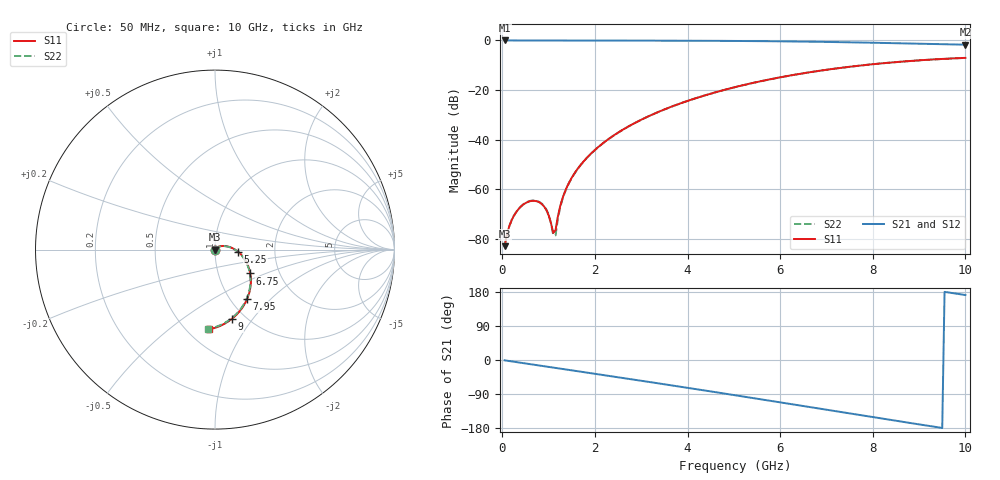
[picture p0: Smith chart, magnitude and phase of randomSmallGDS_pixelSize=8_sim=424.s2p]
! freq	dB(S11)	phase(S11)	dB(S12)	phase(S12)
!  dB(S21)	phase(S21)	dB(S22)	phase(S22)
!S-par simulation data
#  GHz  S  DB  R 50
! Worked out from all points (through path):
!   200 points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, 50 MHz to 10 GHz, reference 50 ohm
!   highest |S21| = 0.00 dB at 50 MHz (marker M1); lowest = -1.7 dB at 10 GHz (marker M2)
!   group delay of S21, straight-line fit = 52.7 ps
!   lowest |S11| = -83.0 dB at 50 MHz (marker M3), VSWR 1.00, Z = 50 - j0.00573 ohm
!   |S11| at or under -10 dB: start of sweep to 7.789 GHz
!   |S22| runs from -83.0 to -7.0 dB; largest |S21 - S12| = 0
!   S11 on the Smith chart (normalised r, x): 50 MHz: 1.00, -0.00; 5.25 GHz: 1.29, -0.03; 6.75 GHz: 1.42, -0.40; 7.95 GHz: 1.19, -0.73; 9 GHz: 0.87, -0.80; 10 GHz: 0.64, -0.70
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0.05  -83.00 -54.0  -0.00 -0.9  -0.00 -0.9  -83.01 -53.7
0.3  -69.26 -83.5  -0.01 -5.5  -0.01 -5.5  -69.21 -82.7
0.45  -66.26 -88.5  -0.01 -8.2  -0.01 -8.2  -66.17 -87.6
0.65  -64.72 -95.4  -0.01 -11.9  -0.01 -11.9  -64.59 -94.3
0.9  -66.95 -107.5  -0.02 -16.4  -0.02 -16.4  -66.76 -105.0
1  -70.48 -118.6  -0.02 -18.2  -0.02 -18.2  -70.26 -113.8
1.1  -77.62 -166.4  -0.03 -20.0  -0.03 -20.0  -78.48 -155.0
1.15  -76.52 131.8  -0.03 -20.9  -0.03 -20.9  -78.64 130.7
1.25  -66.87 91.5  -0.03 -22.7  -0.03 -22.7  -67.39 87.8
1.35  -61.11 81.9  -0.03 -24.6  -0.03 -24.6  -61.37 79.5
1.5  -55.39 74.6  -0.03 -27.3  -0.03 -27.3  -55.52 72.9
1.75  -48.91 66.7  -0.04 -31.8  -0.04 -31.8  -48.98 65.6
2.45  -37.79 50.2  -0.05 -44.6  -0.05 -44.6  -37.82 49.5
3.4  -28.60 30.8  -0.08 -62.2  -0.08 -62.2  -28.62 30.3
5.05  -18.72 -1.2  -0.20 -93.4  -0.20 -93.4  -18.73 -1.7
5.25  -17.82 -5.1  -0.23 -97.2  -0.23 -97.2  -17.83 -5.5
6.7  -12.65 -33.1  -0.51 -125.5  -0.51 -125.5  -12.66 -33.7
6.75  -12.51 -34.1  -0.52 -126.4  -0.52 -126.4  -12.52 -34.6
7.95  -9.68 -56.9  -0.90 -149.8  -0.90 -149.8  -9.70 -57.6
8.35  -8.97 -64.4  -1.05 -157.5  -1.05 -157.5  -8.99 -65.2
9  -8.02 -76.3  -1.31 -169.9  -1.31 -169.9  -8.04 -77.2
10  -7.03 -94.1  -1.71 171.4  -1.71 171.4  -7.05 -95.2
